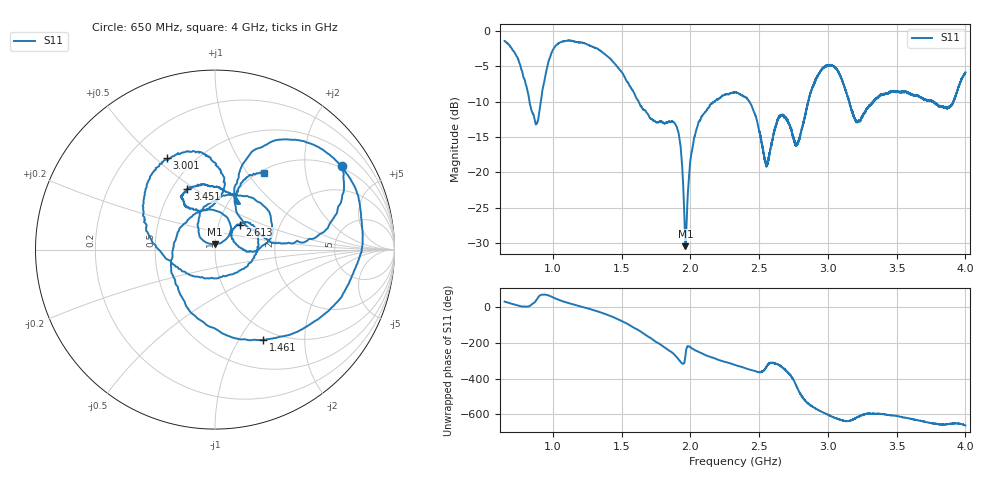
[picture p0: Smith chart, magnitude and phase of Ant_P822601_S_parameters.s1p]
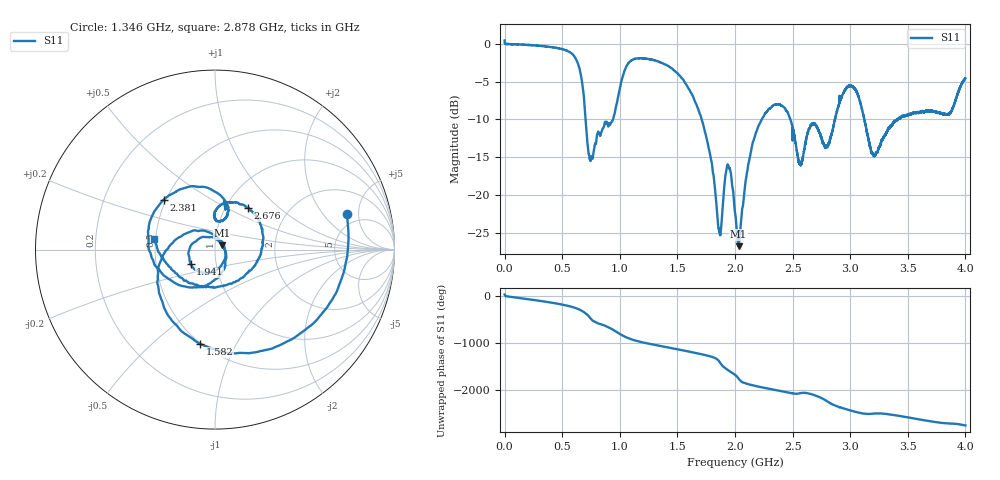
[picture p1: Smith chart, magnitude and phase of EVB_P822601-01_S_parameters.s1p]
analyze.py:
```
#!/usr/bin/env python3
"""Post-process gerber2ems results for the nRF9151 -> P822601 feedline.

Reads ems/results/Port_0_data.csv of each variant (port 0 = nRF9151 side, port 1 = matching-network side),
reports the line's S-parameters / impedance, and cascades the line with the antenna data
(Ant_P822601_S_parameters.s1p + the datasheet pi network, and the measured demo board EVB_...s1p)
to show the return loss the modem sees. Needs numpy + scikit-rf.
"""
import sys, os, glob, csv
import numpy as np
import skrf as rf

HERE = os.path.dirname(os.path.abspath(__file__))
SP = sys.argv[1] if len(sys.argv) > 1 else os.path.join(HERE, 'sparam')
VARIANTS = [v for v in ('asis', 'noufl', 'w135', 'cut', 'cut2', 'cutboth') if os.path.exists(os.path.join(HERE, v, 'ems', 'results', 'Port_0_data.csv'))]
BANDS = [('B28/B12 703-748', 703, 748), ('B5 824-849', 824, 849), ('B8 880-915', 880, 915), ('B3 1710-1785', 1710, 1785),
         ('B2 1850-1910', 1850, 1910), ('B1 1920-1980', 1920, 1980), ('B7 2500-2570', 2500, 2570), ('n78 3400-3600', 3400, 3600)]
db = lambda x: 20 * np.log10(np.abs(x))


def load_port0(variant):
    """Return (f_Hz, S11, S21, Zin) measured at port 0 with port 1 terminated in 50 ohm."""
    rows = list(csv.reader(open(os.path.join(HERE, variant, 'ems', 'results', 'Port_0_data.csv'))))
    hdr = rows[0]; data = np.array(rows[1:], dtype=float)
    col = {h.strip(): i for i, h in enumerate(hdr)}
    f = data[:, col['Frequency [MHz]']] * 1e6
    s11 = data[:, col['|S0-0| [-]']] * np.exp(1j * data[:, col['Arg(S0-0) [rad]']])
    s21 = data[:, col['|S1-0| [-]']] * np.exp(1j * data[:, col['Arg(S1-0) [rad]']])
    return f, s11, s21


def two_port_from_sym(f, s11, s21):
    """Build a reciprocal, symmetric-enough 2-port (S22 ~ S11) network for cascading."""
    s = np.zeros((len(f), 2, 2), complex)
    s[:, 0, 0] = s11; s[:, 1, 1] = s11; s[:, 0, 1] = s21; s[:, 1, 0] = s21
    return rf.Network(frequency=rf.Frequency.from_f(f, unit='Hz'), s=s, z0=50)


def pi_network(freq, Lp1=24e-9, Cs1=2.4e-12, Ls2=1.0e-9, Cp4=0.3e-12):
    """Datasheet p.12 pi network as a 2-port (port 1 = RF side, port 2 = antenna side)."""
    w = 2 * np.pi * freq.f
    def shunt(Y):
        A = np.ones_like(Y); return np.array([[A, np.zeros_like(Y)], [Y, A]]).transpose(2, 0, 1)
    def series(Z):
        A = np.ones_like(Z); return np.array([[A, Z], [np.zeros_like(Z), A]]).transpose(2, 0, 1)
    M = shunt(1j * w * Cp4) if Cp4 else np.tile(np.eye(2), (len(w), 1, 1))
    M = M @ series(1j * w * Ls2) @ series(1 / (1j * w * Cs1)) @ shunt(1 / (1j * w * Lp1))
    return rf.Network(frequency=freq, a=M, z0=50)


def worst_in_bands(f, gamma):
    return [db(gamma[(f >= lo * 1e6) & (f <= hi * 1e6)]).max() if np.any((f >= lo * 1e6) & (f <= hi * 1e6)) else np.nan for _, lo, hi in BANDS]


def main():
    ant = rf.Network(os.path.join(SP, 'Ant_P822601_S_parameters.s1p'))
    evb = rf.Network(os.path.join(SP, 'EVB_P822601-01_S_parameters.s1p'))
    print('bands:', ' '.join(f'{n.split()[0]:>8s}' for n, _, _ in BANDS))
    for variant in VARIANTS:
        f, s11, s21 = load_port0(variant)
        keep = (f >= 650e6) & (f <= 4.0e9)                      # antenna data covers 650 MHz .. 4 GHz
        f, s11, s21 = f[keep], s11[keep], s21[keep]
        line = two_port_from_sym(f, s11, s21)
        zin = 50 * (1 + s11) / (1 - s11)
        print(f'\n=== {variant} ===')
        for m in (700, 900, 1800, 2100, 2600, 3500, 3800):
            i = np.argmin(np.abs(f - m * 1e6))
            print(f'  {m:5d} MHz: |S11| {db(s11[i]):6.1f} dB  |S21| {db(s21[i]):6.2f} dB  Zin(50 ohm load) = {zin[i].real:5.1f}{zin[i].imag:+6.1f}j')
        # line + pi network + bare antenna
        fr = line.frequency
        a = ant.interpolate(fr); e = evb.interpolate(fr)
        pi = pi_network(fr)
        total_pi = line ** pi ** a       # modem -> line -> pi -> antenna
        total_evb = line ** e            # modem -> line -> (demo board incl. its matching)
        ref_pi = pi ** a                 # no feedline reference
        print('   line alone |S11| max :', ' '.join(f'{v:8.1f}' for v in worst_in_bands(f, s11)))
        print('  worst |S11| per band, dB:')
        print('   pi+antenna, no line :', ' '.join(f'{v:8.1f}' for v in worst_in_bands(fr.f, ref_pi.s[:, 0, 0])))
        print('   line+pi+antenna     :', ' '.join(f'{v:8.1f}' for v in worst_in_bands(fr.f, total_pi.s[:, 0, 0])))
        print('   demo board, no line :', ' '.join(f'{v:8.1f}' for v in worst_in_bands(fr.f, e.s[:, 0, 0])))
        print('   line+demo board     :', ' '.join(f'{v:8.1f}' for v in worst_in_bands(fr.f, total_evb.s[:, 0, 0])))
        print('   line |S21| worst, dB:', ' '.join(f'{v:8.2f}' for v in [db(s21[(f >= lo*1e6) & (f <= hi*1e6)]).min() for _, lo, hi in BANDS]))


if __name__ == '__main__':
    main()
```
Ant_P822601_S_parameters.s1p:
# Hz S DB R 50
! CMT, PLANAR-804/1, 14065176, 3.47/03
! Date: 3/9/2023 2:41:44 PM
! Data: Format (Calibration Info)
! Freq  S11: dB/Ang (F1 Pxt)
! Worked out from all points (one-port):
!   8001 points, 650 MHz to 4 GHz, reference 50 ohm
!   lowest |S11| = -30.4 dB at 1.965 GHz (marker M1), VSWR 1.06, Z = 49.9 + j3 ohm
!   |S11| at or under -10 dB: 1.624 GHz to 2.178 GHz (553.5 MHz wide, 29.1 % of centre); 2.429 GHz to 2.858 GHz (428.1 MHz wide, 16.2 % of centre); 3.155 GHz to 3.33 GHz (175.2 MHz wide, 5.4 % of centre)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
!   S11 on the Smith chart (normalised r, x): 650 MHz: 0.94, +3.10; 1.461 GHz: 0.86, -1.28; 2.613 GHz: 1.26, +0.37; 3.001 GHz: 0.36, +0.55; 3.451 GHz: 0.60, +0.47; 4 GHz: 1.05, +1.20
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6.5e8  -1.43 33.1
8.803125e8  -13.15 42.6
1.019756e9  -2.15 50.5
1.227875e9  -1.74 0.3
1.461119e9  -4.88 -61.8
1.766806e9  -12.93 159.8
1.906669e9  -13.94 76.6
1.964875e9  -30.44 90.0
2.155825e9  -10.30 79.7
2.612681e9  -14.12 45.2
2.883612e9  -8.14 165.5
3.000862e9  -4.82 117.7
3.451438e9  -8.65 114.6
4e9  -5.90 57.4
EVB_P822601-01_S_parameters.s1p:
# Hz S DB R 50
! CMT, PLANAR-804/1, 14065176, 3.47/03
! Date: 3/6/2023 2:05:09 PM
! Data: Format (Calibration Info)
! Freq  S11: dB/Ang (F1)
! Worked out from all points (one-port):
!   8001 points, 100 kHz to 4 GHz, reference 50 ohm
!   lowest |S11| = -26.8 dB at 2.032 GHz (marker M1), VSWR 1.10, Z = 54 + j2.63 ohm
!   |S11| at or under -10 dB: 1.711 GHz to 2.232 GHz (520.5 MHz wide, 26.4 % of centre); 2.481 GHz to 2.866 GHz (385.1 MHz wide, 14.4 % of centre); 3.123 GHz to 3.407 GHz (284.2 MHz wide, 8.71 % of centre)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
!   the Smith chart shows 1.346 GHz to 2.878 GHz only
!   S11 on the Smith chart (normalised r, x): 1.346 GHz: 3.87, +3.57; 1.582 GHz: 0.50, -0.73; 1.941 GHz: 0.75, -0.12; 2.381 GHz: 0.49, +0.32; 2.676 GHz: 1.27, +0.64; 2.878 GHz: 0.49, +0.06
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100000  0.45 31.8
2.440939e8  -0.18 -81.2
4.855879e8  -0.64 -175.8
1.089073e9  -2.32 163.7
1.333567e9  -2.33 20.7
1.346066e9  -2.40 15.0
1.58206e9  -5.48 -99.0
1.941051e9  -16.00 -149.4
2.031549e9  -26.76 32.0
2.38104e9  -7.98 135.6
2.667033e9  -10.61 58.5
2.675533e9  -10.59 51.3
2.878028e9  -9.29 170.5
4e9  -4.56 112.3
